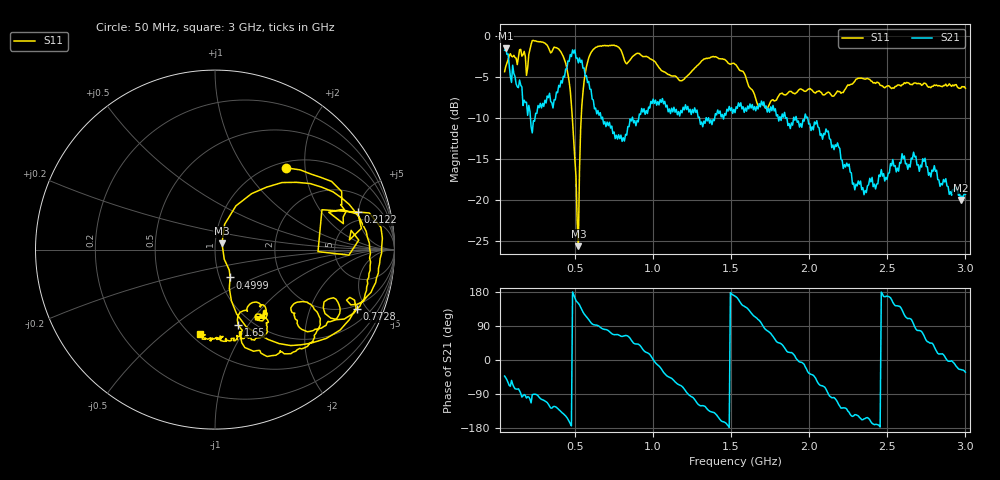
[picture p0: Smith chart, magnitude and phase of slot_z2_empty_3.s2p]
! nanovna_capture.py 2026-10-26T21:25:12+0900
! NanoVNA-F_V2 fw 0.6.0 SN 4A3639384505514B
! cal: load open short thru cal'ed  over 50000000-3000000000 Hz, 201 points
! points 401, avg 4
! slot line on >=20 mm feet, empty (no carrier)
# HZ S RI R 50
! S12 and S22 are not measured (written as 0)
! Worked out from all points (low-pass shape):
!   401 points, 50 MHz to 3 GHz, reference 50 ohm
!   highest |S21| = -1.53 dB at 57.38 MHz (marker M1); lowest = -20.0 dB at 2.97 GHz (marker M2)
!   |S21| within 3 dB of the highest: start of sweep to 84.36 MHz; 437.3 MHz to 563.3 MHz (126 MHz wide, 25.2 % of centre) (the widest 2 of 3)
!   lowest |S11| = -25.6 dB at 522 MHz (marker M3), VSWR 1.11, Z = 53.9 + j3.84 ohm
!   |S11| at or under -10 dB: 483.5 MHz to 540.4 MHz (56.85 MHz wide, 11.1 % of centre)
!   S12 and S22 are empty: the file has one direction only
!   S11 on the Smith chart (normalised r, x): 50 MHz: 1.11, +1.60; 212.2 MHz: 3.78, +4.93; 499.9 MHz: 1.12, -0.36; 772.8 MHz: 1.72, -4.31; 1.65 GHz: 0.87, -0.89; 3 GHz: 0.55, -0.67
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5e7  0.3972 0.4551  0.6031 -0.5491  0 0  0 0
5.7375e7  0.4741 0.4444  0.5727 -0.6123  0 0  0 0
1.75375e8  0.801 0.0529  -0.00802 -0.4051  0 0  0 0
2.1225e8  0.7975 0.2093  -0.0791 -0.3384  0 0  0 0
2.93375e8  0.8955 -0.1832  -0.1008 -0.374  0 0  0 0
4.26125e8  0.5314 -0.5221  -0.4451 -0.3511  0 0  0 0
4.99875e8  0.0843 -0.1552  -0.7838 0.2336  0 0  0 0
5.22e8  0.0387 0.0355  -0.5892 0.3446  0 0  0 0
5.44125e8  0.204 0.3117  -0.4792 0.5228  0 0  0 0
6.2525e8  0.8239 0.1376  -0.0161 0.3586  0 0  0 0
7.7275e8  0.7905 -0.3317  0.0911 0.2168  0 0  0 0
1.03825e9  0.4699 -0.4336  0.3649 -0.1036  0 0  0 0
1.222625e9  0.4941 -0.2902  0.00765 -0.3716  0 0  0 0
1.525e9  0.3145 -0.5912  -0.3336 0.0677  0 0  0 0
1.650375e9  0.1285 -0.4178  -0.1549 0.3368  0 0  0 0
1.842125e9  0.2699 -0.3436  0.2903 0.1807  0 0  0 0
2.019125e9  0.246 -0.3955  0.2175 -0.1753  0 0  0 0
2.351e9  0.2379 -0.4912  -0.0982 -0.0451  0 0  0 0
2.51325e9  0.1371 -0.4731  -0.1426 0.0344  0 0  0 0
2.668125e9  0.0922 -0.5051  -0.0162 0.195  0 0  0 0
2.9705e9  -0.0639 -0.475  0.0907 -0.0424  0 0  0 0
3e9  -0.0844 -0.4716  0.0918 -0.0578  0 0  0 0
